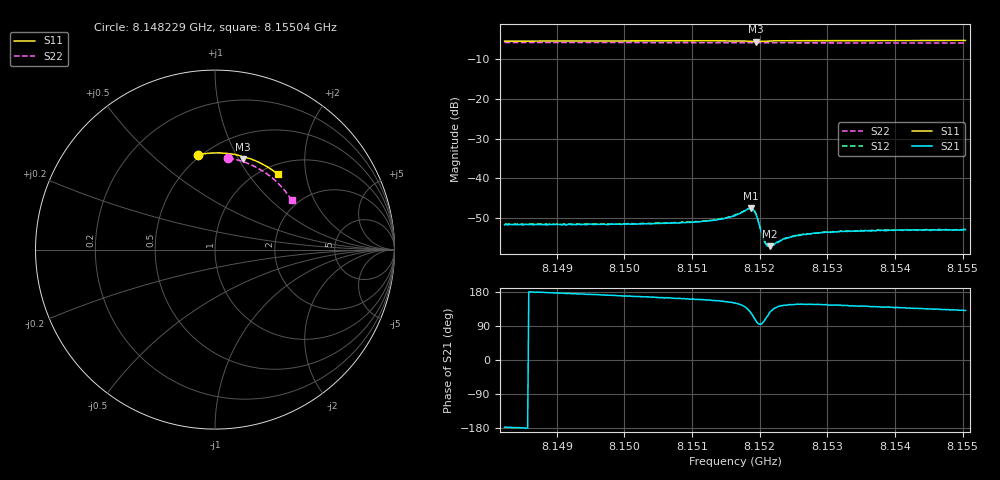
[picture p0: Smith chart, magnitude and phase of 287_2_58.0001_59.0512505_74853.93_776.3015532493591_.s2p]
#  HZ  S  RI  R  50.00
! Rohde & Schwarz Vector Network Analyzer
! Rohde-Schwarz,ZNB20-2Port,1311601062101988,3.16
! Created: UTC 3/21/2024, 1:03:07 AM
! freq[Hz]  re:S11  im:S11  re:S21  im:S21  re:S12  im:S12  re:S22  im:S22
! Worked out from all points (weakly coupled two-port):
!   401 points, 8.148229 GHz to 8.15504 GHz, reference 50 ohm
!   highest |S21| = -47.51 dB at 8.151873 GHz (marker M1); lowest = -57.0 dB at 8.152145 GHz (marker M2)
!   lowest |S11| = -5.5 dB at 8.151941 GHz (marker M3), VSWR 3.25, Z = 37.2 + j52.3 ohm
!   |S11| at or under -10 dB: nowhere
!   |S22| runs from -5.9 to -5.7 dB; largest |S21 - S12| = 0.00013
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8.1482292e9  -0.0937 0.5282  -0.00261 -0.000107  -0.00267 -5.08e-05  0.0737 0.5105
8.1493699e9  -0.0149 0.5383  -0.00262 0.000267  -0.00264 0.00035  0.1461 0.4936
8.1505107e9  0.0647 0.5364  -0.00261 0.000712  -0.00265 0.000749  0.215 0.4662
8.1511406e9  0.1089 0.5301  -0.00269 0.00103  -0.00268 0.00103  0.2509 0.4471
8.1514812e9  0.1331 0.5247  -0.00284 0.00137  -0.00285 0.00141  0.2696 0.4357
8.1516344e9  0.1442 0.521  -0.00296 0.00169  -0.003 0.00177  0.2777 0.4302
8.1518217e9  0.1577 0.5122  -0.00289 0.00296  -0.00286 0.00297  0.2876 0.4231
8.1518728e9  0.1591 0.508  -0.00234 0.0035  -0.00231 0.00356  0.2902 0.4211
8.1519068e9  0.1584 0.5058  -0.00164 0.0037  -0.00158 0.00375  0.2918 0.4198
8.1519409e9  0.1568 0.5055  -0.000892 0.0035  -0.00084 0.00355  0.2934 0.4187
8.1519749e9  0.156 0.507  -0.000351 0.00294  -0.000329 0.00296  0.2952 0.4174
8.152043e9  0.1591 0.5108  -0.000265 0.00182  -0.000239 0.00184  0.2987 0.4151
8.1520771e9  0.162 0.5119  -0.000432 0.00149  -0.000401 0.00155  0.3003 0.4138
8.1521111e9  0.1648 0.5126  -0.000596 0.00128  -0.000615 0.0013  0.3023 0.4125
8.1521452e9  0.1678 0.5127  -0.000815 0.00114  -0.00079 0.00118  0.304 0.411
8.1524346e9  0.1901 0.5081  -0.0015 0.001  -0.00151 0.00103  0.3186 0.3996
8.1525708e9  0.1997 0.505  -0.00162 0.00102  -0.00162 0.00107  0.3253 0.394
8.1527751e9  0.2134 0.4999  -0.00171 0.00111  -0.0017 0.00113  0.3352 0.3854
8.1532349e9  0.2431 0.4872  -0.00174 0.00126  -0.00176 0.00128  0.3561 0.3649
8.1539159e9  0.2849 0.4652  -0.0017 0.00146  -0.00167 0.00149  0.3852 0.3328
8.1549545e9  0.3443 0.4249  -0.00149 0.00169  -0.00145 0.00171  0.4236 0.2796
8.1550396e9  0.3487 0.4214  -0.00148 0.00172  -0.00149 0.00175  0.4265 0.2751
